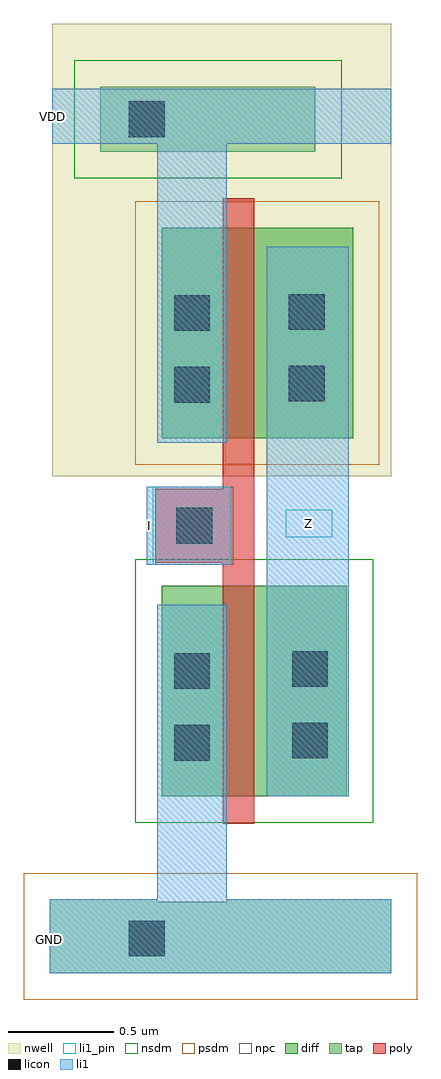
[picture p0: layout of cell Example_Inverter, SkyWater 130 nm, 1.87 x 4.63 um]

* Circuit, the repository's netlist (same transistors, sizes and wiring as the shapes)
* NGSPICE file created from Example_Inverter.ext - technology: sky130A

.subckt Example_Inverter VDD I Z GND
X0 Z I GND GND sky130_fd_pr__nfet_01v8 ad=0.44 pd=2.88 as=0.29 ps=2.58 w=1 l=0.15
X1 Z I VDD VDD sky130_fd_pr__pfet_01v8 ad=0.47 pd=2.94 as=0.29 ps=2.58 w=1 l=0.15
.ends

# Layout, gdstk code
import gdstk
lib = gdstk.Library(unit=1e-6, precision=1e-09)
def R(c, l, rs):  # rectangles x0, y0, x1, y1
    for r in rs: c.add(gdstk.rectangle(r[:2], r[2:], *l))
nwell = (64, 20)
diff = (65, 20)
tap = (65, 44)
poly = (66, 20)
licon = (66, 44)
li1_pin = (67, 16)
li1 = (67, 20)
nsdm = (93, 44)
psdm = (94, 20)
npc = (95, 20)

example_inverter = lib.new_cell('Example_Inverter')
R(example_inverter, nwell, [(-0.8,1.4,0.81,3.55)])
R(example_inverter, diff, [(-0.28,-0.12,0.6,0.88), (-0.28,1.58,0.63,2.58)])
R(example_inverter, tap, [(-0.81,-0.96,0.81,-0.62), (-0.81,-0.62,-0.3,-0.61), (0.03,-0.62,0.81,-0.61), (-0.57,2.94,0.45,3.25)])
R(example_inverter, poly, [(0.01,-0.25,0.16,0.99), (-0.31,0.99,0.16,1.34), (0.01,1.34,0.16,2.72)])
R(example_inverter, licon, [(-0.435,-0.88,-0.265,-0.71), (-0.22,0.05,-0.05,0.22), (0.34,0.06,0.51,0.23), (-0.22,0.39,-0.05,0.56), (0.34,0.4,0.51,0.57), (-0.21,1.08,-0.04,1.25), (-0.22,1.75,-0.05,1.92), (0.325,1.755,0.495,1.925), (-0.22,2.09,-0.05,2.26), (0.325,2.095,0.495,2.265), (-0.435,3.01,-0.265,3.18)])
R(example_inverter, li1_pin, [(-0.35,0.98,-0.32,1.35), (0.31,1.11,0.53,1.24)])
R(example_inverter, li1, [(-0.81,-0.96,0.81,-0.61), (-0.3,-0.61,0.03,0.79), (0.22,-0.12,0.61,2.49), (-0.35,0.98,0.05,1.35), (-0.3,1.56,0.03,2.98), (-0.8,2.98,0.81,3.24)])
R(example_inverter, nsdm, [(-0.405,-0.245,0.725,1.005), (-0.695,2.815,0.575,3.375)])
R(example_inverter, psdm, [(-0.935,-1.085,0.935,-0.485), (-0.405,1.455,0.755,2.705)])
R(example_inverter, npc, [(-0.31,0.98,0.06,1.35)])
example_inverter.add(gdstk.Label('VDD', (-0.8,3.11), layer=67, texttype=5))
example_inverter.add(gdstk.Label('GND', (-0.81,-0.8), layer=67, texttype=5))
example_inverter.add(gdstk.Label('I', (-0.335,1.165), layer=67, texttype=5))
example_inverter.add(gdstk.Label('Z', (0.42,1.175), layer=67, texttype=5))

lib.write_gds('Example_Inverter.gds')
